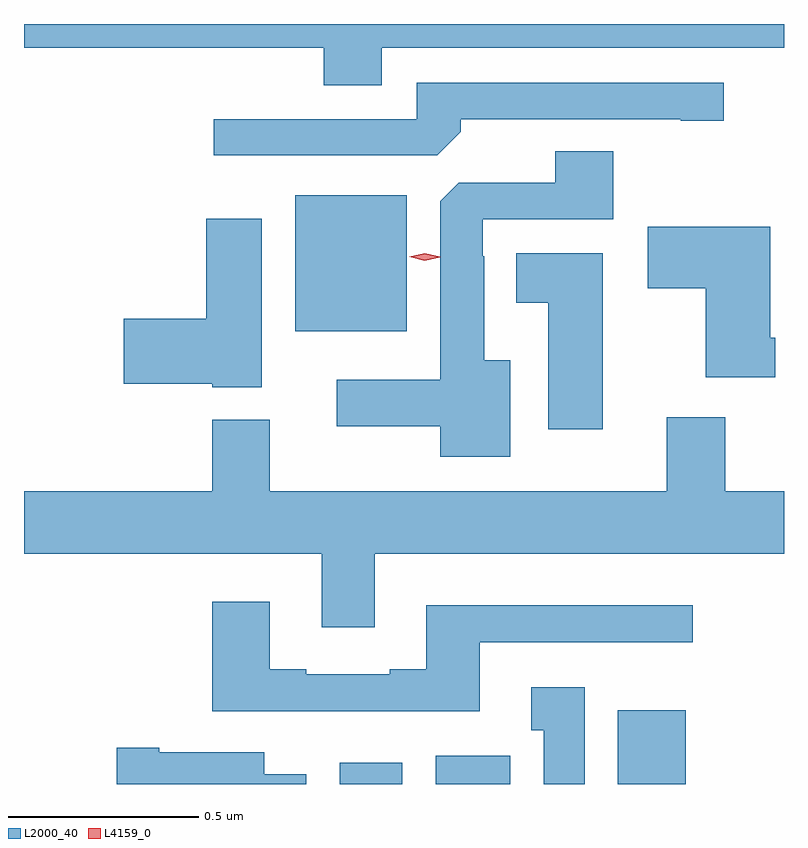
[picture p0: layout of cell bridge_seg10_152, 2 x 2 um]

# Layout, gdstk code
import gdstk
lib = gdstk.Library(unit=1e-6, precision=1e-09)
def R(c, l, rs):  # rectangles x0, y0, x1, y1
    for r in rs: c.add(gdstk.rectangle(r[:2], r[2:], *l))
def P(c, l, *ps):  # polygons
    for p in ps: c.add(gdstk.Polygon(p, *l))
L2000_40 = (2000, 40)
L4159_0 = (4159, 0)

bridge_seg10_152 = lib.new_cell('bridge_seg10_152')
R(bridge_seg10_152, L2000_40, [(316.217,1305.038,316.381,1305.094), (316.469,1305.038,316.666,1305.112), (316.949,1305.038,317.128,1305.232), (316.1,1306.229,316.393,1306.588)])
P(bridge_seg10_152, L2000_40, [(316.327,1306.976),(317.386,1306.976),(317.386,1307.038),(315.386,1307.038),(315.386,1306.976),(316.175,1306.976),(316.175,1306.877),(316.327,1306.877)],
  [(316.535,1306.754),(316.535,1306.788),(317.114,1306.788),(317.114,1306.783),(317.227,1306.783),(317.227,1306.884),(316.419,1306.884),(316.419,1306.788),(315.885,1306.788),(315.885,1306.692),(316.473,1306.692)],
  [(316.666,1306.153),(316.597,1306.153),(316.597,1306.427),(316.593,1306.427),(316.593,1306.524),(316.937,1306.524),(316.937,1306.703),(316.784,1306.703),(316.784,1306.62),(316.53,1306.62),(316.481,1306.571),(316.481,1306.102),(316.209,1306.102),(316.209,1305.98),(316.481,1305.98),(316.481,1305.899),(316.666,1305.899)],
  [(316.012,1306.525),(315.866,1306.525),(315.866,1306.262),(315.648,1306.262),(315.648,1306.091),(315.882,1306.091),(315.882,1306.082),(316.012,1306.082)],
  [(317.363,1306.213),(317.35,1306.213),(317.35,1306.504),(317.028,1306.504),(317.028,1306.342),(317.18,1306.342),(317.18,1306.109),(317.363,1306.109)],
  [(316.909,1306.435),(316.682,1306.435),(316.682,1306.304),(316.766,1306.304),(316.766,1305.972),(316.909,1305.972)],
  [(315.881,1305.997),(315.881,1305.808),(315.386,1305.808),(315.386,1305.644),(316.169,1305.644),(316.169,1305.45),(316.309,1305.45),(316.309,1305.644),(317.386,1305.644),(317.386,1305.808),(317.231,1305.808),(317.231,1306.003),(317.078,1306.003),(317.078,1305.808),(316.033,1305.808),(316.033,1305.997)],
  [(316.585,1305.411),(317.146,1305.411),(317.146,1305.508),(316.445,1305.508),(316.445,1305.34),(316.349,1305.34),(316.349,1305.327),(316.129,1305.327),(316.129,1305.34),(316.033,1305.34),(316.033,1305.517),(315.881,1305.517),(315.881,1305.23),(316.585,1305.23)],
  [(316.861,1305.292),(316.721,1305.292),(316.721,1305.179),(316.754,1305.179),(316.754,1305.038),(316.861,1305.038)],
  [(316.129,1305.064),(316.018,1305.064),(316.018,1305.121),(315.742,1305.121),(315.742,1305.134),(315.63,1305.134),(315.63,1305.038),(316.129,1305.038)])
P(bridge_seg10_152, L4159_0, [(316.44,1306.415),(316.4,1306.425),(316.399,1306.425),(316.4,1306.426),(316.441,1306.435),(316.482,1306.425),(316.482,1306.424),(316.482,1306.424)])

lib.write_gds('bridge_seg10_152.gds')
